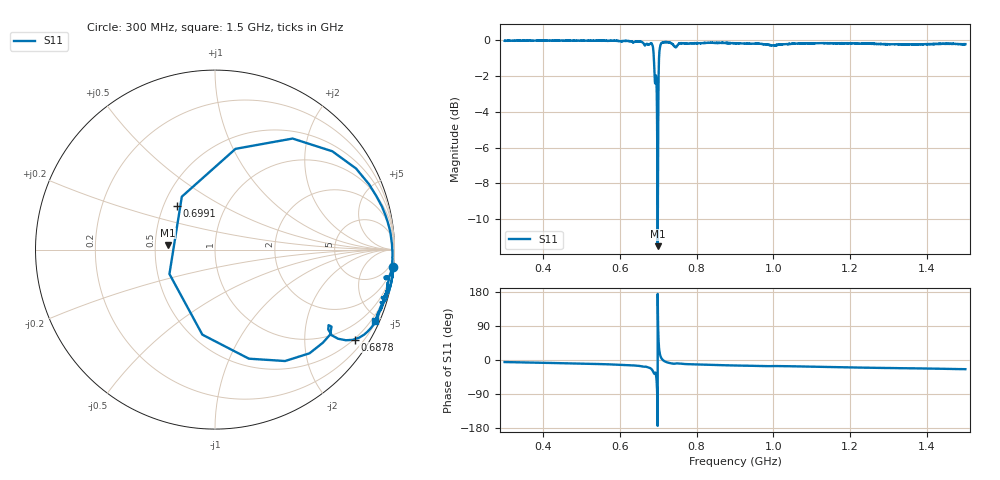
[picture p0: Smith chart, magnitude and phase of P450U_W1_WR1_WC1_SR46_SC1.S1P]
#  HZ  S  RI  R  50.00
! Rohde & Schwarz Vector Network Analyzer
! Rohde-Schwarz,ZNB8-4Port,1311601044103452,2.94
! Created: UTC 2/23/2022, 10:45:34 AM
! freq[Hz]  re:S11  im:S11
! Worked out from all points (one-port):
!   12001 points, 300 MHz to 1.5 GHz, reference 50 ohm
!   lowest |S11| = -11.5 dB at 698.7 MHz (marker M1), VSWR 1.72, Z = 29 + j1.64 ohm
!   |S11| at or under -10 dB: 698.2488 MHz to 699.0691 MHz (820.2 kHz wide, 0.117 % of centre)
!   S11 on the Smith chart (normalised r, x): 300 MHz: 0, -21; 687.8 MHz: 0.48, -3.33; 699.1 MHz: 0.59, +0.32; 1.5 GHz: 0.27, -4.65
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3e8  0.9933 -0.0947
4.5e8  0.9882 -0.1467
6e8  0.9719 -0.2157
6.435e8  0.9589 -0.2526
6.758e8  0.9181 -0.3326
6.82e8  0.8999 -0.3924
6.878e8  0.7776 -0.5013
6.905e8  0.646 -0.4748
6.926e8  0.6455 -0.4234
6.938e8  0.6348 -0.4851
6.95e8  0.5502 -0.5624
6.968e8  0.1888 -0.6077
6.987e8  -0.2645 0.0262
6.991e8  -0.2108 0.2455
7.023e8  0.7726 0.464
7.045e8  0.9208 0.2585
7.054e8  0.9458 0.203
7.067e8  0.9662 0.1393
7.093e8  0.9827 0.0548
7.147e8  0.9885 -0.0384
7.234e8  0.9842 -0.1075
7.364e8  0.9647 -0.157
7.5e8  0.9575 -0.1496
9e8  0.9513 -0.2463
1.05e9  0.9381 -0.279
1.2e9  0.9253 -0.3288
1.35e9  0.905 -0.3623
1.5e9  0.8906 -0.4004
